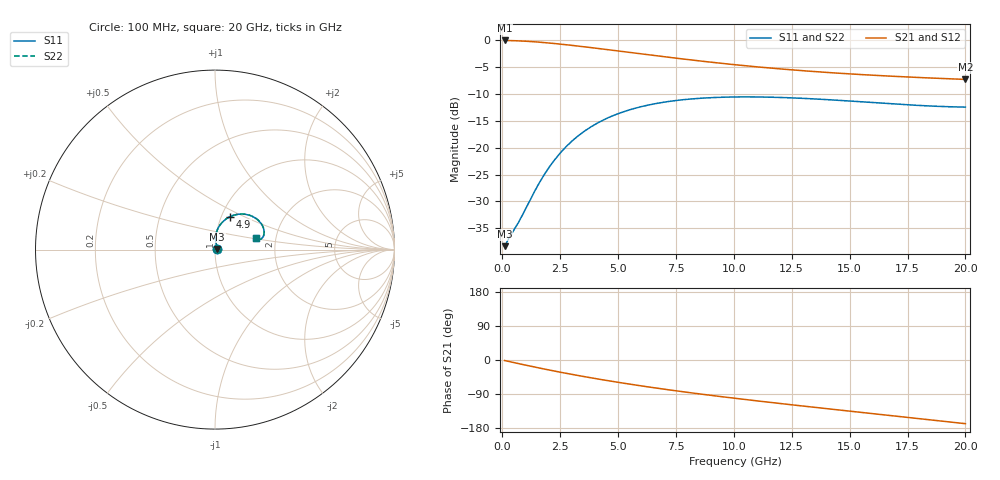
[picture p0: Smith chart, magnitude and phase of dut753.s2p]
! Touchstone file exported from HFSS 2024.1.0
!  File:  C:/UserFiles/LocalFiles/RDL_TSV_Batchsim/temp_RDL_TSV_753_1779898606.aedt
!  Generated:  12:32:31 AM May 28, 2026
!  Design:  RDL_TSV
!  Project:  temp_RDL_TSV_753_1779898606
!  Setup:  Setup1
!  Solution:  Sweep
! Variables:
!  dtsv = 5.8um
!  hbump = 3um
!  htsv = 78.49um
!  ldown = 645.09um
!  lrdl = 111.74um
!  p = 40
!  p1 = 44.17um
!  rhole = 10um
!  subl = 2382.23um
!  t = 450um
!  tdown = 4.61um
!  trdl = 2.87um
!  viad = 10um
!  wdown = 19.32um
!  wrdl = 29.43um
!  xbump = 18um
# GHz S MA R 50.000000
! Terminal data exported
! Port[1] = TM1_1_T1
! Port[2] = TM1_4_T1
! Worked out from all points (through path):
!   200 points, 100 MHz to 20 GHz, reference 50 ohm
!   highest |S21| = -0.11 dB at 100 MHz (marker M1); lowest = -7.3 dB at 20 GHz (marker M2)
!   group delay of S21, straight-line fit = 22.1 ps
!   lowest |S11| = -38.3 dB at 100 MHz (marker M3), VSWR 1.02, Z = 51.2 + j0.299 ohm
!   |S11| at or under -10 dB: start of sweep to end of sweep
!   |S22| runs from -38.3 to -10.6 dB; largest |S21 - S12| = 1.7e-14
!   S11 on the Smith chart (normalised r, x): 100 MHz: 1.02, +0.01; 4.9 GHz: 1.10, +0.42; 20 GHz: 1.57, +0.22
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0.1  0.01217 13.9  0.988 -1.4  0.988 -1.4  0.01217 13.9
! Gamma 0 0 0 0
! Port Impedance 50 0 50 0
0.3  0.0146 32.2  0.9858 -4.1  0.9858 -4.1  0.0146 32.2
0.7  0.02022 57.5  0.9792 -9.5  0.9792 -9.5  0.02022 57.5
1  0.02685 71.5  0.9721 -13.4  0.9721 -13.4  0.02685 71.5
1.5  0.04322 83.8  0.9563 -19.9  0.9563 -19.9  0.04324 83.9
2  0.06463 87.1  0.9365 -26.1  0.9365 -26.1  0.06469 87.2
2.3  0.07901 86.8  0.9232 -29.8  0.9232 -29.8  0.07909 86.9
2.7  0.09912 84.9  0.9045 -34.5  0.9045 -34.5  0.09924 84.9
3.1  0.1196 81.9  0.885 -39.0  0.885 -39.0  0.1197 82.0
3.5  0.1398 78.4  0.865 -43.4  0.865 -43.4  0.14 78.5
4.2  0.1731 71.8  0.8296 -50.9  0.8296 -50.9  0.1734 71.9
4.9  0.2027 65.2  0.7946 -57.9  0.7946 -57.9  0.203 65.2
5.8  0.2341 57.0  0.7511 -66.5  0.7511 -66.5  0.2346 57.1
6.8  0.2603 48.9  0.7059 -75.4  0.7059 -75.4  0.2609 49.0
8.4  0.2857 37.8  0.6423 -88.6  0.6423 -88.6  0.2864 37.9
10.1  0.2954 28.5  0.5867 -101.4  0.5867 -101.4  0.2962 28.6
11.7  0.2934 21.8  0.5448 -112.8  0.5448 -112.8  0.2943 21.9
13.4  0.2838 16.7  0.5096 -124.3  0.5096 -124.3  0.2848 16.8
15  0.2708 13.8  0.4835 -135.0  0.4835 -135.0  0.2718 13.9
16.7  0.2561 12.7  0.4614 -146.2  0.4614 -146.2  0.2572 12.8
18.4  0.2438 13.7  0.4436 -157.4  0.4436 -157.4  0.245 13.8
20  0.2377 16.3  0.4296 -168.0  0.4296 -168.0  0.2388 16.3
